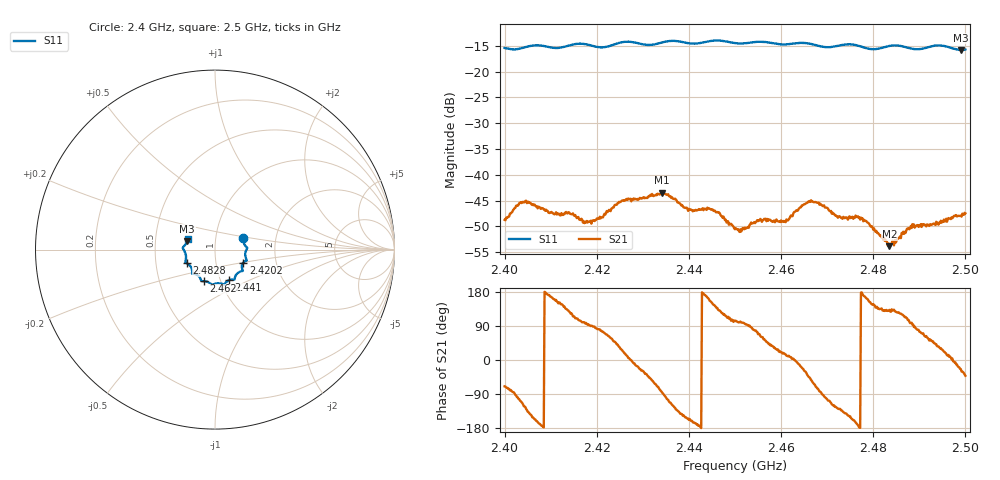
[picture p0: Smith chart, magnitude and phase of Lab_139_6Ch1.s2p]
# Hz S RI R 50
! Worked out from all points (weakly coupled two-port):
!   601 points, 2.4 GHz to 2.5 GHz, reference 50 ohm
!   highest |S21| = -43.47 dB at 2.4342 GHz (marker M1); lowest = -53.8 dB at 2.4835 GHz (marker M2)
!   lowest |S11| = -15.8 dB at 2.499 GHz (marker M3), VSWR 1.39, Z = 36.4 + j3.55 ohm
!   |S11| at or under -10 dB: start of sweep to end of sweep
!   S12 and S22 are empty: the file has one direction only
!   S11 on the Smith chart (normalised r, x): 2.4 GHz: 1.36, +0.17; 2.4202 GHz: 1.36, -0.20; 2.441 GHz: 1.10, -0.39; 2.462 GHz: 0.84, -0.30; 2.4828 GHz: 0.72, -0.11; 2.5 GHz: 0.73, +0.09
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2.4e9  0.1583 0.0619  0.00128 -0.00343  0 0  0 0
2.403e9  0.164 0.028  -0.0011 -0.00499  0 0  0 0
2.404667e9  0.1733 0.0159  -0.00355 -0.00434  0 0  0 0
2.416667e9  0.1769 -0.0605  -0.000725 0.00367  0 0  0 0
2.420167e9  0.158 -0.072  0.000574 0.0037  0 0  0 0
2.425333e9  0.1548 -0.1148  0.0049 0.00261  0 0  0 0
2.433333e9  0.112 -0.1509  0.00212 -0.00613  0 0  0 0
2.434167e9  0.1103 -0.1576  0.000479 -0.00669  0 0  0 0
2.441e9  0.0781 -0.1702  -0.00438 -0.00113  0 0  0 0
2.445167e9  0.0518 -0.193  -0.0039 0.00245  0 0  0 0
2.45e9  0.0279 -0.1876  -0.000661 0.00289  0 0  0 0
2.462e9  -0.0608 -0.1759  0.00391 0.000542  0 0  0 0
2.466667e9  -0.0788 -0.1677  0.00318 -0.00451  0 0  0 0
2.472833e9  -0.1194 -0.135  -0.00247 -0.00303  0 0  0 0
2.477167e9  -0.1272 -0.1226  -0.00367 -6.3e-05  0 0  0 0
2.482833e9  -0.1572 -0.0767  -0.00152 0.00168  0 0  0 0
2.483333e9  -0.1603 -0.0753  -0.0014 0.00163  0 0  0 0
2.4835e9  -0.1612 -0.0751  -0.00136 0.0015  0 0  0 0
2.488333e9  -0.1614 -0.0448  -0.000445 0.00301  0 0  0 0
2.494333e9  -0.1797 0.0101  0.00286 0.00189  0 0  0 0
2.499e9  -0.1555 0.0475  0.00367 -0.00162  0 0  0 0
2.5e9  -0.1524 0.0614  0.00316 -0.0028  0 0  0 0
